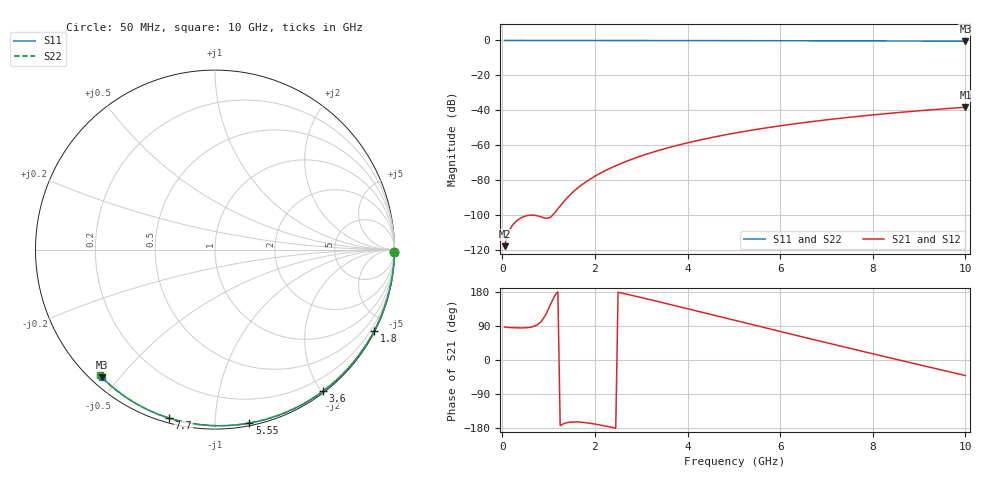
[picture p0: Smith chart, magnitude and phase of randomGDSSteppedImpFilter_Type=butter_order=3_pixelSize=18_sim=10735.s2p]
! freq	dB(S11)	phase(S11)	dB(S12)	phase(S12)
!  dB(S21)	phase(S21)	dB(S22)	phase(S22)
!S-par simulation data
#  GHz  S  DB  R 50
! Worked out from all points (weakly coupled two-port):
!   200 points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, 50 MHz to 10 GHz, reference 50 ohm
!   highest |S21| = -38.35 dB at 10 GHz (marker M1); lowest = -118.1 dB at 50 MHz (marker M2)
!   lowest |S11| = -0.4 dB at 10 GHz (marker M3), VSWR 39.05, Z = 1.54 - j22.5 ohm
!   |S11| at or under -10 dB: nowhere
!   |S22| runs from -0.4 to 0.0 dB; largest |S21 - S12| = 0
!   S11 on the Smith chart (normalised r, x): 50 MHz: open; 1.8 GHz: 0.04, -4.17; 3.6 GHz: 0.02, -2.02; 5.55 GHz: 0.02, -1.22; 7.7 GHz: 0.02, -0.76; 10 GHz: 0.03, -0.45
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0.05  -0.00 -0.8  -118.09 87.1  -118.09 87.1  -0.00 -0.8
0.45  -0.01 -6.8  -101.27 84.7  -101.27 84.7  -0.01 -6.9
0.9  -0.02 -13.6  -101.82 112.0  -101.82 112.0  -0.02 -13.7
1.75  -0.03 -26.2  -82.22 -164.8  -82.22 -164.8  -0.03 -26.4
1.8  -0.03 -27.0  -81.29 -165.5  -81.29 -165.5  -0.03 -27.2
1.85  -0.04 -27.7  -80.40 -166.2  -80.40 -166.2  -0.04 -27.9
1.9  -0.04 -28.4  -79.55 -167.1  -79.55 -167.1  -0.04 -28.6
2.05  -0.04 -30.6  -77.17 -170.2  -77.17 -170.2  -0.04 -30.9
2.25  -0.04 -33.6  -74.37 -174.8  -74.37 -174.8  -0.04 -33.8
2.65  -0.05 -39.3  -69.68 174.7  -69.68 174.7  -0.05 -39.6
3  -0.06 -44.3  -66.28 164.8  -66.28 164.8  -0.06 -44.6
3.4  -0.07 -50.0  -62.94 153.2  -62.94 153.2  -0.07 -50.3
3.6  -0.07 -52.8  -61.45 147.3  -61.45 147.3  -0.07 -53.1
4.3  -0.09 -62.3  -56.95 126.3  -56.95 126.3  -0.09 -62.8
5.05  -0.11 -72.3  -53.03 103.8  -53.03 103.8  -0.11 -72.8
5.55  -0.13 -78.8  -50.80 88.8  -50.80 88.8  -0.13 -79.3
6.1  -0.15 -85.8  -48.62 72.3  -48.62 72.3  -0.15 -86.3
6.7  -0.18 -93.2  -46.52 54.5  -46.52 54.5  -0.18 -93.8
7.7  -0.24 -105.2  -43.53 25.1  -43.53 25.1  -0.24 -105.9
8.35  -0.29 -112.8  -41.86 6.3  -41.86 6.3  -0.29 -113.5
9.15  -0.36 -122.0  -40.04 -16.7  -40.04 -16.7  -0.36 -122.8
10  -0.44 -131.6  -38.35 -41.1  -38.35 -41.1  -0.45 -132.5
